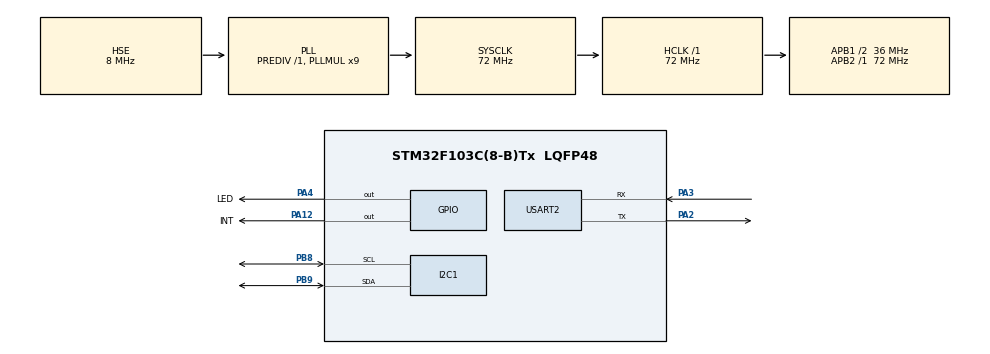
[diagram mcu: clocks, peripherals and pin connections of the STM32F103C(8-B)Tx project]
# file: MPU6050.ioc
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Mcu.Family=STM32F1
Mcu.Name=STM32F103C(8-B)Tx
Mcu.Package=LQFP48
NVIC.PriorityGroup=NVIC_PRIORITYGROUP_4
PA12.GPIO_Label=INT
PA12.GPIO_Speed=GPIO_SPEED_FREQ_HIGH
PA12.PinState=GPIO_PIN_SET
PA12.Signal=GPIO_Output
PA13.Mode=Serial_Wire
PA13.Signal=SYS_JTMS-SWDIO
PA14.Mode=Serial_Wire
PA14.Signal=SYS_JTCK-SWCLK
PA2.Mode=Asynchronous
PA2.Signal=USART2_TX
PA3.Mode=Asynchronous
PA3.Signal=USART2_RX
PA4.GPIO_Label=LED
PA4.Signal=GPIO_Output
PB8.Mode=I2C
PB8.Signal=I2C1_SCL
PB9.Mode=I2C
PB9.Signal=I2C1_SDA
PC14-OSC32_IN.Mode=LSE-External-Oscillator
PC14-OSC32_IN.Signal=RCC_OSC32_IN
PC15-OSC32_OUT.Mode=LSE-External-Oscillator
PC15-OSC32_OUT.Signal=RCC_OSC32_OUT
PD0-OSC_IN.Mode=HSE-External-Oscillator
PD0-OSC_IN.Signal=RCC_OSC_IN
PD1-OSC_OUT.Mode=HSE-External-Oscillator
PD1-OSC_OUT.Signal=RCC_OSC_OUT
ProjectManager.HeapSize=0x200
ProjectManager.StackSize=0x400
ProjectManager.TargetToolchain=STM32CubeIDE
RCC.AHBFreq_Value=72000000
RCC.APB1CLKDivider=RCC_HCLK_DIV2
RCC.APB1Freq_Value=36000000
RCC.APB1TimFreq_Value=72000000
RCC.APB2Freq_Value=72000000
RCC.APB2TimFreq_Value=72000000
RCC.HCLKFreq_Value=72000000
RCC.PLLMUL=RCC_PLL_MUL9
RCC.PLLSourceVirtual=RCC_PLLSOURCE_HSE
RCC.SYSCLKFreq_VALUE=72000000
RCC.SYSCLKSource=RCC_SYSCLKSOURCE_PLLCLK
RCC.USBFreq_Value=72000000
USART2.VirtualMode=VM_ASYNC
board=custom

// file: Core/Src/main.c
/* USER CODE BEGIN Header */
/**
  ******************************************************************************
  * @file           : main.c
  * @brief          : Main program body
  ******************************************************************************
  * @attention
  *
  * Copyright (c) 2025 STMicroelectronics.
  * All rights reserved.
  *
  * This software is licensed under terms that can be found in the LICENSE file
  * in the root directory of this software component.
  * If no LICENSE file comes with this software, it is provided AS-IS.
  *
  ******************************************************************************
  */
/* USER CODE END Header */
#include "main.h"
#include "i2c.h"
#include "usart.h"
#include "gpio.h"

/* USER CODE BEGIN Includes */

#include <stdio.h>
#include <string.h>
#include <math.h>
#include "../../Drivers/BSP/MPU6050/mpu6050.h"
#include "../../Drivers/BSP/MPU6050/mpu6050_dmp.h"

/* USER CODE END Includes */

void SystemClock_Config(void);

int main(void)
{

  /* MCU Configuration--------------------------------------------------------*/

  /* Reset of all peripherals, Initializes the Flash interface and the Systick. */
  HAL_Init();

  /* Configure the system clock */
  SystemClock_Config();

  /* Initialize all configured peripherals */
  MX_GPIO_Init();
  MX_USART2_UART_Init();
  MX_I2C1_Init();
  /* USER CODE BEGIN 2 */

  MPU6050_Init();
  MPU6050_ZeroOffsetCalibrated();

  float Roll = 0, Yaw = 0, Pitch = 0;
  float Pitch_A = 0, Roll_A;
  uint32_t Timer = HAL_GetTick();

  /* USER CODE END 2 */

  /* Infinite loop */
  /* USER CODE BEGIN WHILE */
  while (1)
  {
	  MPU6050_GetEularAngle();
	  Pitch = MPU6050_GetPitch();
	  Roll = MPU6050_GetRoll();
	  Yaw = MPU6050_GetYaw();

	  Pitch_A =  atan2(MPU6050_GetAy(),MPU6050_GetAz()) / 3.14159 * 180.0f;
	  Roll_A =  atan2(MPU6050_GetAx(),MPU6050_GetAz()) / 3.14159 * 180.0f;

	  char buffer[128];
	  sprintf(buffer, "%f, %f, %f\n",Roll, Yaw, Pitch);
//	  sprintf(buffer, "%f, %f\n",Roll, Roll_A);
	  HAL_UART_Transmit(&huart2, (uint8_t *)buffer, strlen(buffer), HAL_MAX_DELAY);
    /* USER CODE END WHILE */

  }
}

void SystemClock_Config(void)
{
  RCC_OscInitTypeDef RCC_OscInitStruct = {0};
  RCC_ClkInitTypeDef RCC_ClkInitStruct = {0};

  /** Initializes the RCC Oscillators according to the specified parameters
  * in the RCC_OscInitTypeDef structure.
  */
  RCC_OscInitStruct.OscillatorType = RCC_OSCILLATORTYPE_HSE;
  RCC_OscInitStruct.HSEState = RCC_HSE_ON;
  RCC_OscInitStruct.HSEPredivValue = RCC_HSE_PREDIV_DIV1;
  RCC_OscInitStruct.HSIState = RCC_HSI_ON;
  RCC_OscInitStruct.PLL.PLLState = RCC_PLL_ON;
  RCC_OscInitStruct.PLL.PLLSource = RCC_PLLSOURCE_HSE;
  RCC_OscInitStruct.PLL.PLLMUL = RCC_PLL_MUL9;
  if (HAL_RCC_OscConfig(&RCC_OscInitStruct) != HAL_OK)
  {
    Error_Handler();
  }

  /** Initializes the CPU, AHB and APB buses clocks
  */
  RCC_ClkInitStruct.ClockType = RCC_CLOCKTYPE_HCLK|RCC_CLOCKTYPE_SYSCLK
                              |RCC_CLOCKTYPE_PCLK1|RCC_CLOCKTYPE_PCLK2;
  RCC_ClkInitStruct.SYSCLKSource = RCC_SYSCLKSOURCE_PLLCLK;
  RCC_ClkInitStruct.AHBCLKDivider = RCC_SYSCLK_DIV1;
  RCC_ClkInitStruct.APB1CLKDivider = RCC_HCLK_DIV2;
  RCC_ClkInitStruct.APB2CLKDivider = RCC_HCLK_DIV1;

  if (HAL_RCC_ClockConfig(&RCC_ClkInitStruct, FLASH_LATENCY_2) != HAL_OK)
  {
    Error_Handler();
  }
}

void Error_Handler(void)
{
  __disable_irq();
  while (1)
  {
  }
}
